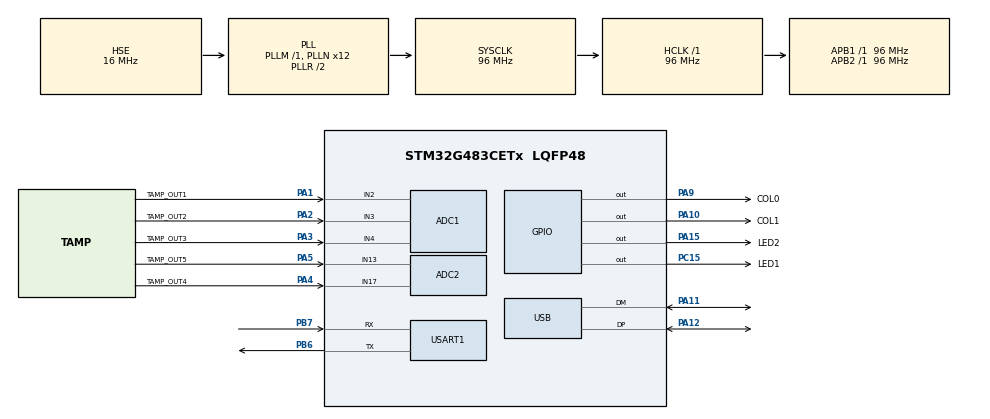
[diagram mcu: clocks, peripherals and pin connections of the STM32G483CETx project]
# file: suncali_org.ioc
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ADC1.Channel-0\#ChannelRegularConversion=ADC_CHANNEL_2
ADC1.Channel-1\#ChannelRegularConversion=ADC_CHANNEL_3
ADC1.Channel-2\#ChannelRegularConversion=ADC_CHANNEL_4
ADC1.ClockPrescaler=ADC_CLOCK_SYNC_PCLK_DIV4
ADC1.ContinuousConvMode=DISABLE
ADC1.NbrOfConversion=3
ADC1.NbrOfConversionFlag=1
ADC1.OffsetNumber-0\#ChannelRegularConversion=ADC_OFFSET_NONE
ADC1.OffsetNumber-1\#ChannelRegularConversion=ADC_OFFSET_NONE
ADC1.OffsetNumber-2\#ChannelRegularConversion=ADC_OFFSET_NONE
ADC1.Rank-0\#ChannelRegularConversion=1
ADC1.Rank-1\#ChannelRegularConversion=2
ADC1.Rank-2\#ChannelRegularConversion=3
ADC1.SamplingTime-0\#ChannelRegularConversion=ADC_SAMPLETIME_47CYCLES_5
ADC1.SamplingTime-1\#ChannelRegularConversion=ADC_SAMPLETIME_47CYCLES_5
ADC1.SamplingTime-2\#ChannelRegularConversion=ADC_SAMPLETIME_47CYCLES_5
ADC1.master=1
ADC2.Channel-0\#ChannelRegularConversion=ADC_CHANNEL_17
ADC2.Channel-1\#ChannelRegularConversion=ADC_CHANNEL_13
ADC2.ClockPrescaler=ADC_CLOCK_SYNC_PCLK_DIV4
ADC2.NbrOfConversion=2
ADC2.NbrOfConversionFlag=1
ADC2.OffsetNumber-0\#ChannelRegularConversion=ADC_OFFSET_NONE
ADC2.OffsetNumber-1\#ChannelRegularConversion=ADC_OFFSET_NONE
ADC2.Rank-0\#ChannelRegularConversion=1
ADC2.Rank-1\#ChannelRegularConversion=2
ADC2.SamplingTime-0\#ChannelRegularConversion=ADC_SAMPLETIME_47CYCLES_5
ADC2.SamplingTime-1\#ChannelRegularConversion=ADC_SAMPLETIME_47CYCLES_5
Dma.ADC1.0.Direction=DMA_PERIPH_TO_MEMORY
Dma.ADC1.0.EventEnable=DISABLE
Dma.ADC1.0.Instance=DMA1_Channel1
Dma.ADC1.0.MemDataAlignment=DMA_MDATAALIGN_WORD
Dma.ADC1.0.MemInc=DMA_MINC_ENABLE
Dma.ADC1.0.Mode=DMA_NORMAL
Dma.ADC1.0.PeriphDataAlignment=DMA_PDATAALIGN_HALFWORD
Dma.ADC1.0.PeriphInc=DMA_PINC_DISABLE
Dma.ADC1.0.Polarity=HAL_DMAMUX_REQ_GEN_RISING
Dma.ADC1.0.Priority=DMA_PRIORITY_LOW
Dma.ADC1.0.RequestNumber=1
Dma.ADC1.0.SignalID=NONE
Dma.ADC1.0.SyncEnable=DISABLE
Dma.ADC1.0.SyncPolarity=HAL_DMAMUX_SYNC_NO_EVENT
Dma.ADC1.0.SyncRequestNumber=1
Dma.ADC1.0.SyncSignalID=NONE
Dma.ADC2.1.Direction=DMA_PERIPH_TO_MEMORY
Dma.ADC2.1.EventEnable=DISABLE
Dma.ADC2.1.Instance=DMA1_Channel2
Dma.ADC2.1.MemDataAlignment=DMA_MDATAALIGN_WORD
Dma.ADC2.1.MemInc=DMA_MINC_ENABLE
Dma.ADC2.1.Mode=DMA_NORMAL
Dma.ADC2.1.PeriphDataAlignment=DMA_PDATAALIGN_HALFWORD
Dma.ADC2.1.PeriphInc=DMA_PINC_DISABLE
Dma.ADC2.1.Polarity=HAL_DMAMUX_REQ_GEN_RISING
Dma.ADC2.1.Priority=DMA_PRIORITY_LOW
Dma.ADC2.1.RequestNumber=1
Dma.ADC2.1.SignalID=NONE
Dma.ADC2.1.SyncEnable=DISABLE
Dma.ADC2.1.SyncPolarity=HAL_DMAMUX_SYNC_NO_EVENT
Dma.ADC2.1.SyncRequestNumber=1
Dma.ADC2.1.SyncSignalID=NONE
Dma.Request0=ADC1
Dma.Request1=ADC2
Mcu.Family=STM32G4
Mcu.Name=STM32G483CETx
Mcu.Package=LQFP48
NVIC.DMA1_Channel1_IRQn=true\:0\:0\:false\:false\:true\:false\:true\:true
NVIC.DMA1_Channel2_IRQn=true\:0\:0\:false\:false\:true\:false\:true\:true
NVIC.PriorityGroup=NVIC_PRIORITYGROUP_4
NVIC.TIM1_BRK_TIM15_IRQn=true\:0\:0\:false\:false\:true\:true\:true\:true
NVIC.TIM1_CC_IRQn=true\:0\:0\:false\:false\:true\:true\:true\:true
NVIC.TIM1_TRG_COM_TIM17_IRQn=true\:0\:0\:false\:false\:true\:true\:true\:true
NVIC.TIM1_UP_TIM16_IRQn=true\:0\:0\:false\:false\:true\:true\:true\:true
NVIC.USB_LP_IRQn=true\:0\:0\:false\:false\:true\:false\:true\:true
PA1.GPIO_Label=TAMP_OUT1
PA1.Mode=IN2-Single-Ended
PA1.Signal=ADC1_IN2
PA10.GPIO_Label=COL1
PA10.Signal=GPIO_Output
PA11.Mode=Device
PA11.Signal=USB_DM
PA12.Mode=Device
PA12.Signal=USB_DP
PA13.Mode=Trace_Asynchronous_SW
PA13.Signal=SYS_JTMS-SWDIO
PA14.Mode=Trace_Asynchronous_SW
PA14.Signal=SYS_JTCK-SWCLK
PA15.GPIO_Label=LED2
PA15.PinState=GPIO_PIN_RESET
PA15.Signal=GPIO_Output
PA2.GPIO_Label=TAMP_OUT2
PA2.Mode=IN3-Single-Ended
PA2.Signal=ADC1_IN3
PA3.GPIO_Label=TAMP_OUT3
PA3.Mode=IN4-Single-Ended
PA3.Signal=ADC1_IN4
PA4.GPIO_Label=TAMP_OUT4
PA4.Mode=IN17-Single-Ended
PA4.Signal=ADC2_IN17
PA5.GPIO_Label=TAMP_OUT5
PA5.Mode=IN13-Single-Ended
PA5.Signal=ADC2_IN13
PA9.GPIO_Label=COL0
PA9.Signal=GPIO_Output
PB3.Mode=Trace_Asynchronous_SW
PB3.Signal=SYS_JTDO-SWO
PB6.GPIO_FM6=SYSCFG_FASTMODEPLUS_PB6
PB6.Mode=Asynchronous
PB6.Signal=USART1_TX
PB7.GPIO_FM7=SYSCFG_FASTMODEPLUS_PB7
PB7.Mode=Asynchronous
PB7.Signal=USART1_RX
PC15-OSC32_OUT.GPIO_Label=LED1
PC15-OSC32_OUT.Signal=GPIO_Output
PF0-OSC_IN.Mode=HSE-External-Oscillator
PF0-OSC_IN.Signal=RCC_OSC_IN
PF1-OSC_OUT.Mode=HSE-External-Oscillator
PF1-OSC_OUT.Signal=RCC_OSC_OUT
ProjectManager.HeapSize=0x200
ProjectManager.StackSize=0x400
ProjectManager.TargetToolchain=STM32CubeIDE
RCC.ADC12Freq_Value=96000000
RCC.ADC345Freq_Value=96000000
RCC.AHBFreq_Value=96000000
RCC.APB1Freq_Value=96000000
RCC.APB1TimFreq_Value=96000000
RCC.APB2Freq_Value=96000000
RCC.APB2TimFreq_Value=96000000
RCC.CortexFreq_Value=96000000
RCC.EXTERNAL_CLOCK_VALUE=12288000
RCC.HCLKFreq_Value=96000000
RCC.HSE_VALUE=16000000
RCC.HSI48_VALUE=48000000
RCC.HSI_VALUE=16000000
RCC.LSE_VALUE=32768
RCC.PLLN=12
RCC.PLLQ=RCC_PLLQ_DIV4
RCC.PLLSourceVirtual=RCC_PLLSOURCE_HSE
RCC.SYSCLKFreq_VALUE=96000000
RCC.SYSCLKSource=RCC_SYSCLKSOURCE_PLLCLK
RCC.USART1CLockSelection=RCC_USART1CLKSOURCE_SYSCLK
RCC.USBFreq_Value=48000000
RCC.VCOOutputFreq_Value=192000000
TIM1.AutoReloadPreload=TIM_AUTORELOAD_PRELOAD_ENABLE
TIM1.PeriodNoDither=1000-1
TIM1.Prescaler=9600-1
USART1.VirtualMode-Asynchronous=VM_ASYNC
USB_DEVICE.CLASS_NAME_FS=CDC
USB_DEVICE.VirtualMode=Cdc
USB_DEVICE.VirtualModeFS=Cdc_FS
VP_SYS_VS_DBSignals.Mode=DisableDeadBatterySignals
VP_TIM1_VS_ClockSourceINT.Mode=Internal
VP_USB_DEVICE_VS_USB_DEVICE_CDC_FS.Mode=CDC_FS
board=custom

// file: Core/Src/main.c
/* USER CODE BEGIN Header */
/**
  ******************************************************************************
  * @file           : main.c
  * @brief          : Main program body
  ******************************************************************************
  * @attention
  *
  * Copyright (c) 2024 STMicroelectronics.
  * All rights reserved.
  *
  * This software is licensed under terms that can be found in the LICENSE file
  * in the root directory of this software component.
  * If no LICENSE file comes with this software, it is provided AS-IS.
  *
  ******************************************************************************
  */
/* USER CODE END Header */
#include "main.h"
#include "usb_device.h"

/* USER CODE BEGIN Includes */
#include "string.h"
#include "stdio.h"
#include "usbd_cdc_if.h"

/* USER CODE END Includes */

ADC_HandleTypeDef hadc1;
ADC_HandleTypeDef hadc2;
DMA_HandleTypeDef hdma_adc1;
DMA_HandleTypeDef hdma_adc2;

TIM_HandleTypeDef htim1;

UART_HandleTypeDef huart1;

/* USER CODE BEGIN PV */

uint32_t adc_value = 0;

char adc_out[50];

uint32_t adc_buffer[3];
uint32_t adc_buffer2[2];

volatile int flag = 0;
volatile int flag2 = 0;
int state = 0;

char uart_buffer[60];

volatile uint8_t run_main_loop = 0; // 0 = stop, 1 = start

/* USER CODE END PV */

void SystemClock_Config(void);
static void MX_GPIO_Init(void);
static void MX_DMA_Init(void);
static void MX_USART1_UART_Init(void);
static void MX_ADC1_Init(void);
static void MX_TIM1_Init(void);
static void MX_ADC2_Init(void);

int main(void)
{

  /* MCU Configuration--------------------------------------------------------*/

  /* Reset of all peripherals, Initializes the Flash interface and the Systick. */
  HAL_Init();

  /* Configure the system clock */
  SystemClock_Config();

  /* Initialize all configured peripherals */
  MX_GPIO_Init();
  MX_DMA_Init();
  MX_USART1_UART_Init();
  MX_ADC1_Init();
  MX_TIM1_Init();
  MX_ADC2_Init();
  MX_USB_Device_Init();
  /* USER CODE BEGIN 2 */

  HAL_ADCEx_Calibration_Start(&hadc1, ADC_SINGLE_ENDED);
  HAL_ADCEx_Calibration_Start(&hadc2, ADC_SINGLE_ENDED);
  HAL_TIM_Base_Start_IT(&htim1);

  char msg[] = "Hello, UART!\r\n";
  HAL_UART_Transmit(&huart1, (uint8_t *)msg, strlen(msg), HAL_MAX_DELAY);

  HAL_GPIO_WritePin(COL1_GPIO_Port, COL1_Pin, 0);
  HAL_GPIO_WritePin(COL0_GPIO_Port, COL0_Pin, 0);
  HAL_Delay(50);

  /* USER CODE END 2 */

  /* Infinite loop */
  /* USER CODE BEGIN WHILE */
  while (1)
  {
	  if (run_main_loop)
	          {

	              if(state == 0){
	              		  HAL_GPIO_WritePin(COL0_GPIO_Port, COL0_Pin, 1);
	              		  HAL_GPIO_WritePin(LED2_GPIO_Port, LED2_Pin, 1);
	              		  HAL_Delay(10);
	              		  HAL_ADC_Start_DMA(&hadc1, (uint32_t *)adc_buffer, 3);
	              		  HAL_ADC_Start_DMA(&hadc2, (uint32_t *)adc_buffer2, 2);
	              		  state = 1;
	              }

	              if(state == 3){
	              		  HAL_GPIO_WritePin(COL1_GPIO_Port, COL1_Pin, 1);
	              		  HAL_GPIO_WritePin(LED2_GPIO_Port, LED2_Pin, 1);
	              		  HAL_Delay(10);
	              		  HAL_ADC_Start_DMA(&hadc1, (uint32_t *)adc_buffer, 3);
	              		  HAL_ADC_Start_DMA(&hadc2, (uint32_t *)adc_buffer2, 2);
	              		  state = 4;
	              }

	              if(flag == 1 && flag2 == 1 && state == 1){

	            	  	  snprintf(uart_buffer, sizeof(uart_buffer), "COL0: %lu, %lu, %lu, %lu, %lu\r\n", adc_buffer[0], adc_buffer[1], adc_buffer[2],adc_buffer2[0], adc_buffer2[1]);
	            	  	  HAL_UART_Transmit(&huart1, (uint8_t *)uart_buffer, strlen(uart_buffer), HAL_MAX_DELAY);
	            	  	  CDC_Transmit_FS((uint8_t *)uart_buffer, strlen(uart_buffer));
	            	  	  flag = 0;
	            	  	  flag2 = 0;
	            	  	  HAL_GPIO_WritePin(COL0_GPIO_Port, COL0_Pin, 0);
	            	  	  HAL_GPIO_WritePin(LED2_GPIO_Port, LED2_Pin, 0);
	            	  	  HAL_Delay(10);
	            	  	  state = 3;
	              }

	              if(flag == 1 && flag2 == 1 && state == 4){

	            	  	  snprintf(uart_buffer, sizeof(uart_buffer), "COL1: %lu, %lu, %lu, %lu, %lu\r\n", adc_buffer[0], adc_buffer[1], adc_buffer[2],adc_buffer2[0], adc_buffer2[1]);
	            	  	  HAL_UART_Transmit(&huart1, (uint8_t *)uart_buffer, strlen(uart_buffer), HAL_MAX_DELAY);
	            	  	  CDC_Transmit_FS((uint8_t *)uart_buffer, strlen(uart_buffer));
	            	  	  flag = 0;
	            	  	  flag2 = 0;
	            	  	  HAL_GPIO_WritePin(COL1_GPIO_Port, COL1_Pin, 0);
	            	  	  HAL_GPIO_WritePin(LED2_GPIO_Port, LED2_Pin, 0);
	            	  	  HAL_Delay(10);
	            	  	  state = 0;
	              }

	              HAL_Delay(50);

	          }
	          else
	          {
	              // Optionally, do something when the loop is stopped
	              // Example: keep the system idle
	        	  HAL_GPIO_WritePin(LED2_GPIO_Port, LED2_Pin, 0);
	        	  HAL_Delay(100); // Small idle delay

	          }
	  }

    /* USER CODE END WHILE */

}

void SystemClock_Config(void)
{
  RCC_OscInitTypeDef RCC_OscInitStruct = {0};
  RCC_ClkInitTypeDef RCC_ClkInitStruct = {0};

  /** Configure the main internal regulator output voltage
  */
  HAL_PWREx_ControlVoltageScaling(PWR_REGULATOR_VOLTAGE_SCALE1);

  /** Initializes the RCC Oscillators according to the specified parameters
  * in the RCC_OscInitTypeDef structure.
  */
  RCC_OscInitStruct.OscillatorType = RCC_OSCILLATORTYPE_HSE;
  RCC_OscInitStruct.HSEState = RCC_HSE_ON;
  RCC_OscInitStruct.PLL.PLLState = RCC_PLL_ON;
  RCC_OscInitStruct.PLL.PLLSource = RCC_PLLSOURCE_HSE;
  RCC_OscInitStruct.PLL.PLLM = RCC_PLLM_DIV1;
  RCC_OscInitStruct.PLL.PLLN = 12;
  RCC_OscInitStruct.PLL.PLLP = RCC_PLLP_DIV2;
  RCC_OscInitStruct.PLL.PLLQ = RCC_PLLQ_DIV4;
  RCC_OscInitStruct.PLL.PLLR = RCC_PLLR_DIV2;
  if (HAL_RCC_OscConfig(&RCC_OscInitStruct) != HAL_OK)
  {
    Error_Handler();
  }

  /** Initializes the CPU, AHB and APB buses clocks
  */
  RCC_ClkInitStruct.ClockType = RCC_CLOCKTYPE_HCLK|RCC_CLOCKTYPE_SYSCLK
                              |RCC_CLOCKTYPE_PCLK1|RCC_CLOCKTYPE_PCLK2;
  RCC_ClkInitStruct.SYSCLKSource = RCC_SYSCLKSOURCE_PLLCLK;
  RCC_ClkInitStruct.AHBCLKDivider = RCC_SYSCLK_DIV1;
  RCC_ClkInitStruct.APB1CLKDivider = RCC_HCLK_DIV1;
  RCC_ClkInitStruct.APB2CLKDivider = RCC_HCLK_DIV1;

  if (HAL_RCC_ClockConfig(&RCC_ClkInitStruct, FLASH_LATENCY_3) != HAL_OK)
  {
    Error_Handler();
  }
}

static void MX_ADC1_Init(void)
{

  ADC_MultiModeTypeDef multimode = {0};
  ADC_ChannelConfTypeDef sConfig = {0};

  /** Common config
  */
  hadc1.Instance = ADC1;
  hadc1.Init.ClockPrescaler = ADC_CLOCK_SYNC_PCLK_DIV4;
  hadc1.Init.Resolution = ADC_RESOLUTION_12B;
  hadc1.Init.DataAlign = ADC_DATAALIGN_RIGHT;
  hadc1.Init.GainCompensation = 0;
  hadc1.Init.ScanConvMode = ADC_SCAN_ENABLE;
  hadc1.Init.EOCSelection = ADC_EOC_SINGLE_CONV;
  hadc1.Init.LowPowerAutoWait = DISABLE;
  hadc1.Init.ContinuousConvMode = DISABLE;
  hadc1.Init.NbrOfConversion = 3;
  hadc1.Init.DiscontinuousConvMode = DISABLE;
  hadc1.Init.ExternalTrigConv = ADC_SOFTWARE_START;
  hadc1.Init.ExternalTrigConvEdge = ADC_EXTERNALTRIGCONVEDGE_NONE;
  hadc1.Init.DMAContinuousRequests = DISABLE;
  hadc1.Init.Overrun = ADC_OVR_DATA_PRESERVED;
  hadc1.Init.OversamplingMode = DISABLE;
  if (HAL_ADC_Init(&hadc1) != HAL_OK)
  {
    Error_Handler();
  }

  /** Configure the ADC multi-mode
  */
  multimode.Mode = ADC_MODE_INDEPENDENT;
  if (HAL_ADCEx_MultiModeConfigChannel(&hadc1, &multimode) != HAL_OK)
  {
    Error_Handler();
  }

  /** Configure Regular Channel
  */
  sConfig.Channel = ADC_CHANNEL_2;
  sConfig.Rank = ADC_REGULAR_RANK_1;
  sConfig.SamplingTime = ADC_SAMPLETIME_47CYCLES_5;
  sConfig.SingleDiff = ADC_SINGLE_ENDED;
  sConfig.OffsetNumber = ADC_OFFSET_NONE;
  sConfig.Offset = 0;
  if (HAL_ADC_ConfigChannel(&hadc1, &sConfig) != HAL_OK)
  {
    Error_Handler();
  }

  /** Configure Regular Channel
  */
  sConfig.Channel = ADC_CHANNEL_3;
  sConfig.Rank = ADC_REGULAR_RANK_2;
  if (HAL_ADC_ConfigChannel(&hadc1, &sConfig) != HAL_OK)
  {
    Error_Handler();
  }

  /** Configure Regular Channel
  */
  sConfig.Channel = ADC_CHANNEL_4;
  sConfig.Rank = ADC_REGULAR_RANK_3;
  if (HAL_ADC_ConfigChannel(&hadc1, &sConfig) != HAL_OK)
  {
    Error_Handler();
  }

}

static void MX_ADC2_Init(void)
{

  ADC_ChannelConfTypeDef sConfig = {0};

  /** Common config
  */
  hadc2.Instance = ADC2;
  hadc2.Init.ClockPrescaler = ADC_CLOCK_SYNC_PCLK_DIV4;
  hadc2.Init.Resolution = ADC_RESOLUTION_12B;
  hadc2.Init.DataAlign = ADC_DATAALIGN_RIGHT;
  hadc2.Init.GainCompensation = 0;
  hadc2.Init.ScanConvMode = ADC_SCAN_ENABLE;
  hadc2.Init.EOCSelection = ADC_EOC_SINGLE_CONV;
  hadc2.Init.LowPowerAutoWait = DISABLE;
  hadc2.Init.ContinuousConvMode = DISABLE;
  hadc2.Init.NbrOfConversion = 2;
  hadc2.Init.DiscontinuousConvMode = DISABLE;
  hadc2.Init.ExternalTrigConv = ADC_SOFTWARE_START;
  hadc2.Init.ExternalTrigConvEdge = ADC_EXTERNALTRIGCONVEDGE_NONE;
  hadc2.Init.DMAContinuousRequests = DISABLE;
  hadc2.Init.Overrun = ADC_OVR_DATA_PRESERVED;
  hadc2.Init.OversamplingMode = DISABLE;
  if (HAL_ADC_Init(&hadc2) != HAL_OK)
  {
    Error_Handler();
  }

  /** Configure Regular Channel
  */
  sConfig.Channel = ADC_CHANNEL_17;
  sConfig.Rank = ADC_REGULAR_RANK_1;
  sConfig.SamplingTime = ADC_SAMPLETIME_47CYCLES_5;
  sConfig.SingleDiff = ADC_SINGLE_ENDED;
  sConfig.OffsetNumber = ADC_OFFSET_NONE;
  sConfig.Offset = 0;
  if (HAL_ADC_ConfigChannel(&hadc2, &sConfig) != HAL_OK)
  {
    Error_Handler();
  }

  /** Configure Regular Channel
  */
  sConfig.Channel = ADC_CHANNEL_13;
  sConfig.Rank = ADC_REGULAR_RANK_2;
  if (HAL_ADC_ConfigChannel(&hadc2, &sConfig) != HAL_OK)
  {
    Error_Handler();
  }

}

static void MX_TIM1_Init(void)
{

  TIM_ClockConfigTypeDef sClockSourceConfig = {0};
  TIM_MasterConfigTypeDef sMasterConfig = {0};

  htim1.Instance = TIM1;
  htim1.Init.Prescaler = 9600-1;
  htim1.Init.CounterMode = TIM_COUNTERMODE_UP;
  htim1.Init.Period = 999;
  htim1.Init.ClockDivision = TIM_CLOCKDIVISION_DIV1;
  htim1.Init.RepetitionCounter = 0;
  htim1.Init.AutoReloadPreload = TIM_AUTORELOAD_PRELOAD_ENABLE;
  if (HAL_TIM_Base_Init(&htim1) != HAL_OK)
  {
    Error_Handler();
  }
  sClockSourceConfig.ClockSource = TIM_CLOCKSOURCE_INTERNAL;
  if (HAL_TIM_ConfigClockSource(&htim1, &sClockSourceConfig) != HAL_OK)
  {
    Error_Handler();
  }
  sMasterConfig.MasterOutputTrigger = TIM_TRGO_RESET;
  sMasterConfig.MasterOutputTrigger2 = TIM_TRGO2_RESET;
  sMasterConfig.MasterSlaveMode = TIM_MASTERSLAVEMODE_DISABLE;
  if (HAL_TIMEx_MasterConfigSynchronization(&htim1, &sMasterConfig) != HAL_OK)
  {
    Error_Handler();
  }

}

static void MX_USART1_UART_Init(void)
{

  huart1.Instance = USART1;
  huart1.Init.BaudRate = 115200;
  huart1.Init.WordLength = UART_WORDLENGTH_8B;
  huart1.Init.StopBits = UART_STOPBITS_1;
  huart1.Init.Parity = UART_PARITY_NONE;
  huart1.Init.Mode = UART_MODE_TX_RX;
  huart1.Init.HwFlowCtl = UART_HWCONTROL_NONE;
  huart1.Init.OverSampling = UART_OVERSAMPLING_16;
  huart1.Init.OneBitSampling = UART_ONE_BIT_SAMPLE_DISABLE;
  huart1.Init.ClockPrescaler = UART_PRESCALER_DIV1;
  huart1.AdvancedInit.AdvFeatureInit = UART_ADVFEATURE_NO_INIT;
  if (HAL_UART_Init(&huart1) != HAL_OK)
  {
    Error_Handler();
  }
  if (HAL_UARTEx_SetTxFifoThreshold(&huart1, UART_TXFIFO_THRESHOLD_1_8) != HAL_OK)
  {
    Error_Handler();
  }
  if (HAL_UARTEx_SetRxFifoThreshold(&huart1, UART_RXFIFO_THRESHOLD_1_8) != HAL_OK)
  {
    Error_Handler();
  }
  if (HAL_UARTEx_DisableFifoMode(&huart1) != HAL_OK)
  {
    Error_Handler();
  }

}

static void MX_DMA_Init(void)
{

  /* DMA controller clock enable */
  __HAL_RCC_DMAMUX1_CLK_ENABLE();
  __HAL_RCC_DMA1_CLK_ENABLE();

  /* DMA interrupt init */
  /* DMA1_Channel1_IRQn interrupt configuration */
  HAL_NVIC_SetPriority(DMA1_Channel1_IRQn, 0, 0);
  HAL_NVIC_EnableIRQ(DMA1_Channel1_IRQn);
  /* DMA1_Channel2_IRQn interrupt configuration */
  HAL_NVIC_SetPriority(DMA1_Channel2_IRQn, 0, 0);
  HAL_NVIC_EnableIRQ(DMA1_Channel2_IRQn);

}

static void MX_GPIO_Init(void)
{
  GPIO_InitTypeDef GPIO_InitStruct = {0};

  /* GPIO Ports Clock Enable */
  __HAL_RCC_GPIOC_CLK_ENABLE();
  __HAL_RCC_GPIOF_CLK_ENABLE();
  __HAL_RCC_GPIOA_CLK_ENABLE();
  __HAL_RCC_GPIOB_CLK_ENABLE();

  /*Configure GPIO pin Output Level */
  HAL_GPIO_WritePin(LED1_GPIO_Port, LED1_Pin, GPIO_PIN_RESET);

  /*Configure GPIO pin Output Level */
  HAL_GPIO_WritePin(GPIOA, COL0_Pin|COL1_Pin|LED2_Pin, GPIO_PIN_RESET);

  /*Configure GPIO pin : LED1_Pin */
  GPIO_InitStruct.Pin = LED1_Pin;
  GPIO_InitStruct.Mode = GPIO_MODE_OUTPUT_PP;
  GPIO_InitStruct.Pull = GPIO_NOPULL;
  GPIO_InitStruct.Speed = GPIO_SPEED_FREQ_LOW;
  HAL_GPIO_Init(LED1_GPIO_Port, &GPIO_InitStruct);

  /*Configure GPIO pins : COL0_Pin COL1_Pin LED2_Pin */
  GPIO_InitStruct.Pin = COL0_Pin|COL1_Pin|LED2_Pin;
  GPIO_InitStruct.Mode = GPIO_MODE_OUTPUT_PP;
  GPIO_InitStruct.Pull = GPIO_NOPULL;
  GPIO_InitStruct.Speed = GPIO_SPEED_FREQ_LOW;
  HAL_GPIO_Init(GPIOA, &GPIO_InitStruct);

}

/* USER CODE BEGIN 4 */

void HAL_TIM_PeriodElapsedCallback(TIM_HandleTypeDef* htim)
{
    if (htim->Instance == TIM1)
    {
    	HAL_GPIO_TogglePin(LED1_GPIO_Port, LED1_Pin);
    	//HAL_GPIO_TogglePin(LED2_GPIO_Port, LED2_Pin);

    }
}

void HAL_ADC_ConvCpltCallback(ADC_HandleTypeDef* hadc)
{
    if (hadc->Instance == ADC1)
    {
    	flag = 1;
    }

    if (hadc->Instance == ADC2)
        {
        	flag2 = 1;
        }
}

/* USER CODE END 4 */

void Error_Handler(void)
{
  __disable_irq();
  while (1)
  {
  }
}
